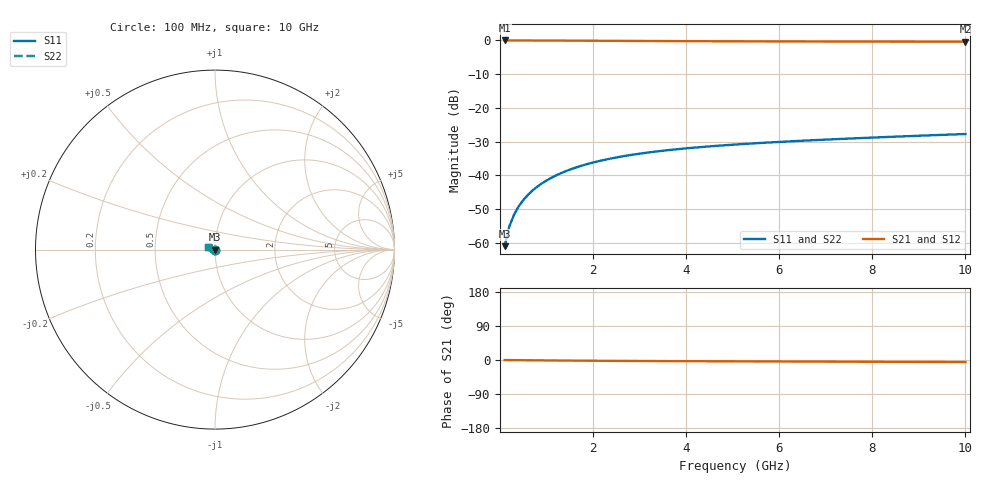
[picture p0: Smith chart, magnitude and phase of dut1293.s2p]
! Touchstone file exported from HFSS 2024.1.0
!  File:  C:/UserFiles/LocalFiles/RDL_TSV_Batchsim/temp_TSV1_1293_1780256400.aedt
!  Generated:  03:45:28 AM Jun  1, 2026
!  Design:  TSV1
!  Project:  temp_TSV1_1293_1780256400
!  Setup:  Setup1
!  Solution:  Sweep
! Variables:
!  dtsv = 7.51um
!  hbump = 3um
!  htsv = 81.15um
!  lrdl = 252.1521522um
!  p = 40
!  p1 = 51.52um
!  t = 500um
!  trdl = 3um
!  wrdl = 24.89489489um
# GHz S MA R 50.000000
! Terminal data exported
! Port[1] = TSV22_T1
! Port[2] = TSV22_T2
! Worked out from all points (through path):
!   100 points, 100 MHz to 10 GHz, reference 50 ohm
!   highest |S21| = 0.00 dB at 100 MHz (marker M1); lowest = -0.4 dB at 10 GHz (marker M2)
!   lowest |S11| = -61.0 dB at 100 MHz (marker M3), VSWR 1.00, Z = 50 - j0.0861 ohm
!   |S11| at or under -10 dB: start of sweep to end of sweep
!   |S22| runs from -61.0 to -27.7 dB; largest |S21 - S12| = 3e-15
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0.1  0.0008904 -75.2  0.9997 -0.1  0.9997 -0.1  0.0008904 -75.2
! Gamma 0 0 0 0
! Port Impedance 50 0 50 0
0.2  0.001738 -85.4  0.9996 -0.2  0.9996 -0.2  0.001738 -85.4
0.3  0.002592 -90.3  0.9994 -0.3  0.9994 -0.3  0.002592 -90.3
0.4  0.003443 -93.8  0.9992 -0.5  0.9992 -0.5  0.003443 -93.8
0.5  0.004289 -96.7  0.9989 -0.6  0.9989 -0.6  0.004289 -96.7
0.6  0.005128 -99.3  0.9986 -0.7  0.9986 -0.7  0.005128 -99.3
0.7  0.005957 -101.7  0.9982 -0.8  0.9982 -0.8  0.005957 -101.7
0.8  0.006776 -104.0  0.9978 -0.9  0.9978 -0.9  0.006776 -104.0
0.9  0.007583 -106.2  0.9973 -1.0  0.9973 -1.0  0.007583 -106.2
1.1  0.009158 -110.4  0.9962 -1.2  0.9962 -1.2  0.009158 -110.4
1.4  0.01141 -116.4  0.9943 -1.5  0.9943 -1.5  0.01141 -116.4
1.6  0.01283 -120.2  0.9929 -1.6  0.9929 -1.6  0.01283 -120.2
1.8  0.01419 -123.8  0.9914 -1.8  0.9914 -1.8  0.01419 -123.8
2.1  0.01609 -129.1  0.9892 -2.0  0.9892 -2.0  0.01609 -129.1
2.5  0.0184 -135.6  0.9861 -2.3  0.9861 -2.3  0.0184 -135.6
2.9  0.02046 -141.7  0.9831 -2.6  0.9831 -2.6  0.02046 -141.7
3.4  0.02273 -148.6  0.9797 -2.8  0.9797 -2.8  0.02273 -148.6
4.2  0.02583 -158.5  0.9749 -3.2  0.9749 -3.2  0.02583 -158.5
5.1  0.02874 -168.1  0.9705 -3.6  0.9705 -3.6  0.02874 -168.1
6.7  0.0331 178.0  0.9649 -4.2  0.9649 -4.2  0.0331 178.0
8.4  0.03722 166.2  0.9609 -4.8  0.9609 -4.8  0.03722 166.2
10  0.04098 157.1  0.9583 -5.4  0.9583 -5.4  0.04097 157.1
